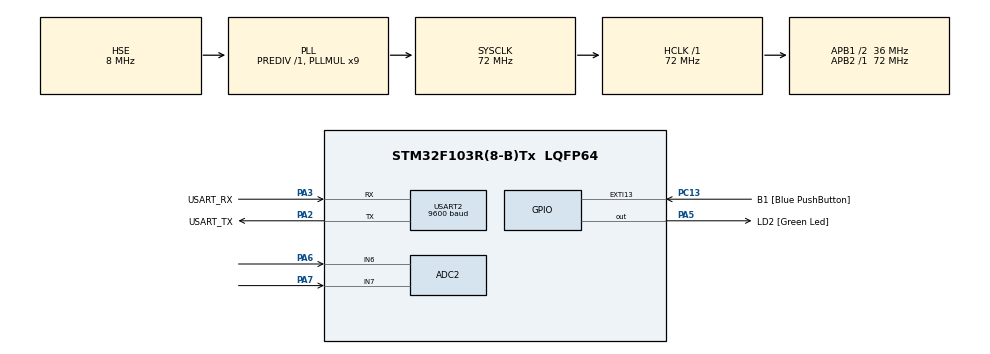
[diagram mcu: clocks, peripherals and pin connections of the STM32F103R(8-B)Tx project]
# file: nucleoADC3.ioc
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ADC2.Channel-0\#ChannelRegularConversion=ADC_CHANNEL_6
ADC2.Channel-3\#ChannelRegularConversion=ADC_CHANNEL_7
ADC2.DiscontinuousConvMode=ENABLE
ADC2.NbrOfConversion=2
ADC2.NbrOfConversionFlag=1
ADC2.NbrOfDiscConversion=1
ADC2.Rank-0\#ChannelRegularConversion=1
ADC2.Rank-3\#ChannelRegularConversion=2
ADC2.SamplingTime-0\#ChannelRegularConversion=ADC_SAMPLETIME_1CYCLE_5
ADC2.SamplingTime-3\#ChannelRegularConversion=ADC_SAMPLETIME_1CYCLE_5
Mcu.Family=STM32F1
Mcu.Name=STM32F103R(8-B)Tx
Mcu.Package=LQFP64
NVIC.EXTI15_10_IRQn=true\:0\:0\:false\:false\:true\:true\:true\:true
NVIC.PriorityGroup=NVIC_PRIORITYGROUP_4
PA13.GPIO_Label=TMS
PA13.Mode=Serial_Wire
PA13.Signal=SYS_JTMS-SWDIO
PA14.GPIO_Label=TCK
PA14.Mode=Serial_Wire
PA14.Signal=SYS_JTCK-SWCLK
PA2.GPIO_Label=USART_TX
PA2.GPIO_Mode=GPIO_MODE_AF_PP
PA2.GPIO_PuPd=GPIO_NOPULL
PA2.GPIO_Speed=GPIO_SPEED_FREQ_LOW
PA2.Mode=Asynchronous
PA2.Signal=USART2_TX
PA3.GPIO_Label=USART_RX
PA3.GPIO_Mode=GPIO_MODE_AF_PP
PA3.GPIO_PuPd=GPIO_NOPULL
PA3.GPIO_Speed=GPIO_SPEED_FREQ_LOW
PA3.Mode=Asynchronous
PA3.Signal=USART2_RX
PA5.GPIO_Label=LD2 [Green Led]
PA5.GPIO_ModeDefaultOutputPP=GPIO_MODE_OUTPUT_PP
PA5.GPIO_PuPd=GPIO_NOPULL
PA5.GPIO_Speed=GPIO_SPEED_FREQ_LOW
PA5.Signal=GPIO_Output
PA6.Signal=ADCx_IN6
PA7.Signal=ADCx_IN7
PB3.GPIO_Label=SWO
PB3.Signal=SYS_JTDO-TRACESWO
PC13-TAMPER-RTC.GPIO_Label=B1 [Blue PushButton]
PC13-TAMPER-RTC.GPIO_PuPd=GPIO_NOPULL
PC13-TAMPER-RTC.Signal=GPXTI13
PC14-OSC32_IN.Mode=LSE-External-Oscillator
PC14-OSC32_IN.Signal=RCC_OSC32_IN
PC15-OSC32_OUT.Mode=LSE-External-Oscillator
PC15-OSC32_OUT.Signal=RCC_OSC32_OUT
PD0-OSC_IN.Mode=HSE-External-Clock-Source
PD0-OSC_IN.Signal=RCC_OSC_IN
PD1-OSC_OUT.Mode=HSE-External-Clock-Source
PD1-OSC_OUT.Signal=RCC_OSC_OUT
ProjectManager.HeapSize=0x200
ProjectManager.StackSize=0x400
ProjectManager.TargetToolchain=STM32CubeIDE
RCC.ADCPresc=RCC_ADCPCLK2_DIV8
RCC.AHBFreq_Value=72000000
RCC.APB1CLKDivider=RCC_HCLK_DIV2
RCC.APB1Freq_Value=36000000
RCC.APB1TimFreq_Value=72000000
RCC.APB2Freq_Value=72000000
RCC.APB2TimFreq_Value=72000000
RCC.HCLKFreq_Value=72000000
RCC.PLLMUL=RCC_PLL_MUL9
RCC.PLLSourceVirtual=RCC_PLLSOURCE_HSE
RCC.RTCClockSelection=RCC_RTCCLKSOURCE_LSE
RCC.SYSCLKFreq_VALUE=72000000
RCC.SYSCLKSource=RCC_SYSCLKSOURCE_PLLCLK
RCC.USBFreq_Value=72000000
SH.ADCx_IN6.0=ADC2_IN6,IN6
SH.ADCx_IN7.0=ADC2_IN7,IN7
USART2.BaudRate=9600
USART2.VirtualMode=VM_ASYNC
board=NUCLEO-F103RB

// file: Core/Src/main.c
/* USER CODE BEGIN Header */
/**
  ******************************************************************************
  * @file           : main.c
  * @brief          : Main program body
  ******************************************************************************
  * @attention
  *
  * Copyright (c) 2022 STMicroelectronics.
  * All rights reserved.
  *
  * This software is licensed under terms that can be found in the LICENSE file
  * in the root directory of this software component.
  * If no LICENSE file comes with this software, it is provided AS-IS.
  *
  ******************************************************************************
  */
/* USER CODE END Header */
#include "main.h"

/* USER CODE BEGIN Includes */
#include "stdio.h"

/* USER CODE END Includes */

 ADC_HandleTypeDef hadc2;

UART_HandleTypeDef huart2;

/* USER CODE BEGIN PV */

uint32_t adc_valueX;
uint32_t adc_valueY;

/* USER CODE END PV */

void SystemClock_Config(void);
static void MX_GPIO_Init(void);
static void MX_USART2_UART_Init(void);
static void MX_ADC2_Init(void);

/* USER CODE BEGIN 0 */
#ifdef __GNUC__
/* With GCC, small printf (option LD Linker->Libraries->Small printf
   set to 'Yes') calls __io_putchar() */
#define PUTCHAR_PROTOTYPE int __io_putchar(int ch)
#else
#define PUTCHAR_PROTOTYPE int fputc(int ch, FILE *f)
#endif /* __GNUC__ */

PUTCHAR_PROTOTYPE
{
  /* Place your implementation of fputc here */
  /* e.g. write a character to the USART1 and Loop until the end of transmission */
  HAL_UART_Transmit(&huart2, (uint8_t *)&ch, 1, 0xFFFF);

  return ch;
}

/* USER CODE END 0 */

int main(void)
{

  /* MCU Configuration--------------------------------------------------------*/

  /* Reset of all peripherals, Initializes the Flash interface and the Systick. */
  HAL_Init();

  /* Configure the system clock */
  SystemClock_Config();

  /* Initialize all configured peripherals */
  MX_GPIO_Init();
  MX_USART2_UART_Init();
  MX_ADC2_Init();

  /* Infinite loop */
  while (1)
  {

    /* USER CODE BEGIN 3 */
	  HAL_ADC_Start(&hadc2);
	  HAL_ADC_PollForConversion(&hadc2, HAL_MAX_DELAY);
	  adc_valueX = HAL_ADC_GetValue(&hadc2);

	  HAL_ADC_Start(&hadc2);
	  HAL_ADC_PollForConversion(&hadc2, HAL_MAX_DELAY);
	  adc_valueY = HAL_ADC_GetValue(&hadc2);

	  printf("%u,  %u\n\r",adc_valueX,adc_valueY);

	  HAL_Delay(500);

  }
  /* USER CODE END 3 */
}

void SystemClock_Config(void)
{
  RCC_OscInitTypeDef RCC_OscInitStruct = {0};
  RCC_ClkInitTypeDef RCC_ClkInitStruct = {0};
  RCC_PeriphCLKInitTypeDef PeriphClkInit = {0};

  /** Initializes the RCC Oscillators according to the specified parameters
  * in the RCC_OscInitTypeDef structure.
  */
  RCC_OscInitStruct.OscillatorType = RCC_OSCILLATORTYPE_HSE;
  RCC_OscInitStruct.HSEState = RCC_HSE_BYPASS;
  RCC_OscInitStruct.HSEPredivValue = RCC_HSE_PREDIV_DIV1;
  RCC_OscInitStruct.HSIState = RCC_HSI_ON;
  RCC_OscInitStruct.PLL.PLLState = RCC_PLL_ON;
  RCC_OscInitStruct.PLL.PLLSource = RCC_PLLSOURCE_HSE;
  RCC_OscInitStruct.PLL.PLLMUL = RCC_PLL_MUL9;
  if (HAL_RCC_OscConfig(&RCC_OscInitStruct) != HAL_OK)
  {
    Error_Handler();
  }

  /** Initializes the CPU, AHB and APB buses clocks
  */
  RCC_ClkInitStruct.ClockType = RCC_CLOCKTYPE_HCLK|RCC_CLOCKTYPE_SYSCLK
                              |RCC_CLOCKTYPE_PCLK1|RCC_CLOCKTYPE_PCLK2;
  RCC_ClkInitStruct.SYSCLKSource = RCC_SYSCLKSOURCE_PLLCLK;
  RCC_ClkInitStruct.AHBCLKDivider = RCC_SYSCLK_DIV1;
  RCC_ClkInitStruct.APB1CLKDivider = RCC_HCLK_DIV2;
  RCC_ClkInitStruct.APB2CLKDivider = RCC_HCLK_DIV1;

  if (HAL_RCC_ClockConfig(&RCC_ClkInitStruct, FLASH_LATENCY_2) != HAL_OK)
  {
    Error_Handler();
  }
  PeriphClkInit.PeriphClockSelection = RCC_PERIPHCLK_ADC;
  PeriphClkInit.AdcClockSelection = RCC_ADCPCLK2_DIV8;
  if (HAL_RCCEx_PeriphCLKConfig(&PeriphClkInit) != HAL_OK)
  {
    Error_Handler();
  }
}

static void MX_ADC2_Init(void)
{

  ADC_ChannelConfTypeDef sConfig = {0};

  /** Common config
  */
  hadc2.Instance = ADC2;
  hadc2.Init.ScanConvMode = ADC_SCAN_ENABLE;
  hadc2.Init.ContinuousConvMode = DISABLE;
  hadc2.Init.DiscontinuousConvMode = ENABLE;
  hadc2.Init.NbrOfDiscConversion = 1;
  hadc2.Init.ExternalTrigConv = ADC_SOFTWARE_START;
  hadc2.Init.DataAlign = ADC_DATAALIGN_RIGHT;
  hadc2.Init.NbrOfConversion = 2;
  if (HAL_ADC_Init(&hadc2) != HAL_OK)
  {
    Error_Handler();
  }

  /** Configure Regular Channel
  */
  sConfig.Channel = ADC_CHANNEL_6;
  sConfig.Rank = ADC_REGULAR_RANK_1;
  sConfig.SamplingTime = ADC_SAMPLETIME_1CYCLE_5;
  if (HAL_ADC_ConfigChannel(&hadc2, &sConfig) != HAL_OK)
  {
    Error_Handler();
  }

  /** Configure Regular Channel
  */
  sConfig.Channel = ADC_CHANNEL_7;
  sConfig.Rank = ADC_REGULAR_RANK_2;
  if (HAL_ADC_ConfigChannel(&hadc2, &sConfig) != HAL_OK)
  {
    Error_Handler();
  }

}

static void MX_USART2_UART_Init(void)
{

  huart2.Instance = USART2;
  huart2.Init.BaudRate = 9600;
  huart2.Init.WordLength = UART_WORDLENGTH_8B;
  huart2.Init.StopBits = UART_STOPBITS_1;
  huart2.Init.Parity = UART_PARITY_NONE;
  huart2.Init.Mode = UART_MODE_TX_RX;
  huart2.Init.HwFlowCtl = UART_HWCONTROL_NONE;
  huart2.Init.OverSampling = UART_OVERSAMPLING_16;
  if (HAL_UART_Init(&huart2) != HAL_OK)
  {
    Error_Handler();
  }

}

static void MX_GPIO_Init(void)
{
  GPIO_InitTypeDef GPIO_InitStruct = {0};

  /* GPIO Ports Clock Enable */
  __HAL_RCC_GPIOC_CLK_ENABLE();
  __HAL_RCC_GPIOD_CLK_ENABLE();
  __HAL_RCC_GPIOA_CLK_ENABLE();
  __HAL_RCC_GPIOB_CLK_ENABLE();

  /*Configure GPIO pin Output Level */
  HAL_GPIO_WritePin(LD2_GPIO_Port, LD2_Pin, GPIO_PIN_RESET);

  /*Configure GPIO pin : B1_Pin */
  GPIO_InitStruct.Pin = B1_Pin;
  GPIO_InitStruct.Mode = GPIO_MODE_IT_RISING;
  GPIO_InitStruct.Pull = GPIO_NOPULL;
  HAL_GPIO_Init(B1_GPIO_Port, &GPIO_InitStruct);

  /*Configure GPIO pin : LD2_Pin */
  GPIO_InitStruct.Pin = LD2_Pin;
  GPIO_InitStruct.Mode = GPIO_MODE_OUTPUT_PP;
  GPIO_InitStruct.Pull = GPIO_NOPULL;
  GPIO_InitStruct.Speed = GPIO_SPEED_FREQ_LOW;
  HAL_GPIO_Init(LD2_GPIO_Port, &GPIO_InitStruct);

  /* EXTI interrupt init*/
  HAL_NVIC_SetPriority(EXTI15_10_IRQn, 0, 0);
  HAL_NVIC_EnableIRQ(EXTI15_10_IRQn);

}

void Error_Handler(void)
{
  __disable_irq();
  while (1)
  {
  }
}
